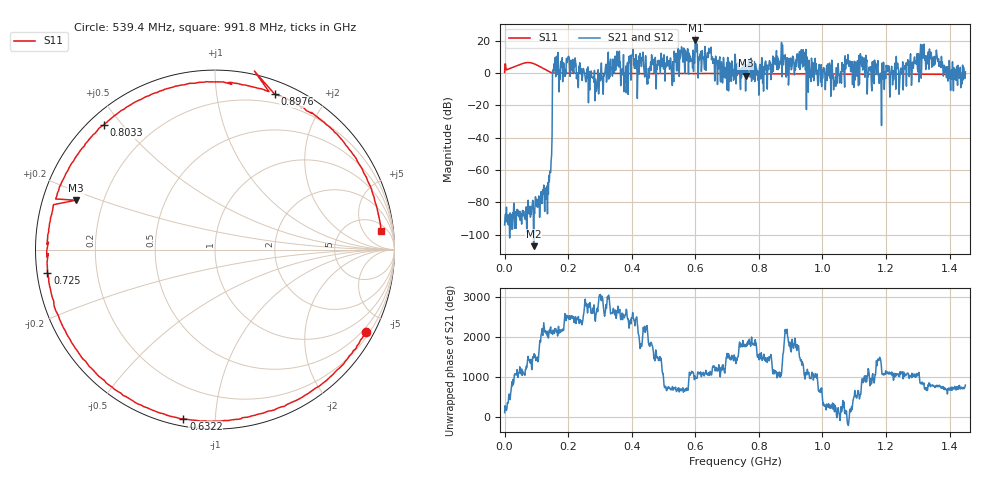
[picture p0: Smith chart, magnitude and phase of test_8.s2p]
! Created with skrf 1.11.0 (http://scikit-rf.org).
# Hz S RI R 50.0
!freq ReS11 ImS11 ReS21 ImS21 ReS12 ImS12 ReS22 ImS22
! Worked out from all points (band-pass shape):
!   1001 points, 50 kHz to 1.45 GHz, reference 50 ohm
!   highest |S21| = 20.03 dB at 600.3 MHz (marker M1); lowest = -107.0 dB at 91.4 MHz (marker M2)
!   |S21| within 3 dB of the highest: 599.8901 MHz to 600.9925 MHz (1.102 MHz wide, 0.184 % of centre); 602.6999 MHz to 603.7194 MHz (1.019 MHz wide, 0.169 % of centre) (the widest 2 of 8)
!   lowest |S11| = -1.7 dB at 758.4 MHz (marker M3), VSWR 10.21, Z = 5.04 + j8.53 ohm
!   |S11| at or under -10 dB: nowhere
!   |S22| runs from - to - dB; largest |S21 - S12| = 0
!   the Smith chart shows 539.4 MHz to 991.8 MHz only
!   S11 on the Smith chart (normalised r, x): 539.4 MHz: 0.36, -3.90; 632.2 MHz: 0.04, -0.83; 725 MHz: 0.03, -0.07; 803.3 MHz: 0.04, +0.45; 897.6 MHz: 0.12, +1.45; 991.8 MHz: 8, +12
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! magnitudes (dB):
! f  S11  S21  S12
! 50 kHz  0.3  -93.9  -93.9
! 91.4 MHz  5.7  -107.0  -107.0
! 137.8 MHz  1.0  -74.9  -74.9
! 158.1 MHz  -0.1  4.5  4.5
! 242.2 MHz  -0.2  2.7  2.7
! 291.5 MHz  -0.4  -5.4  -5.4
! 353.8 MHz  -0.3  13.3  13.3
! 382.8 MHz  -0.3  -12.3  -12.3
! 397.3 MHz  -0.4  -4.5  -4.5
! 484.3 MHz  -0.4  6.4  6.4
! 539.4 MHz  -0.4  12.1  12.1
! 600.3 MHz  -0.5  20.0  20.0
! 632.2 MHz  -0.4  9.1  9.1
! 725 MHz  -0.5  11.6  11.6
! 758.4 MHz  -1.7  -11.2  -11.2
! 803.3 MHz  -0.6  5.2  5.2
! 897.6 MHz  -0.6  4.1  4.1
! 967.2 MHz  -0.6  4.5  4.5
! 991.8 MHz  -0.6  3.9  3.9
! 1.209 GHz  -0.9  4.3  4.3
! 1.321 GHz  -0.8  11.0  11.0
! 1.45 GHz  -0.7  0.7  0.7
